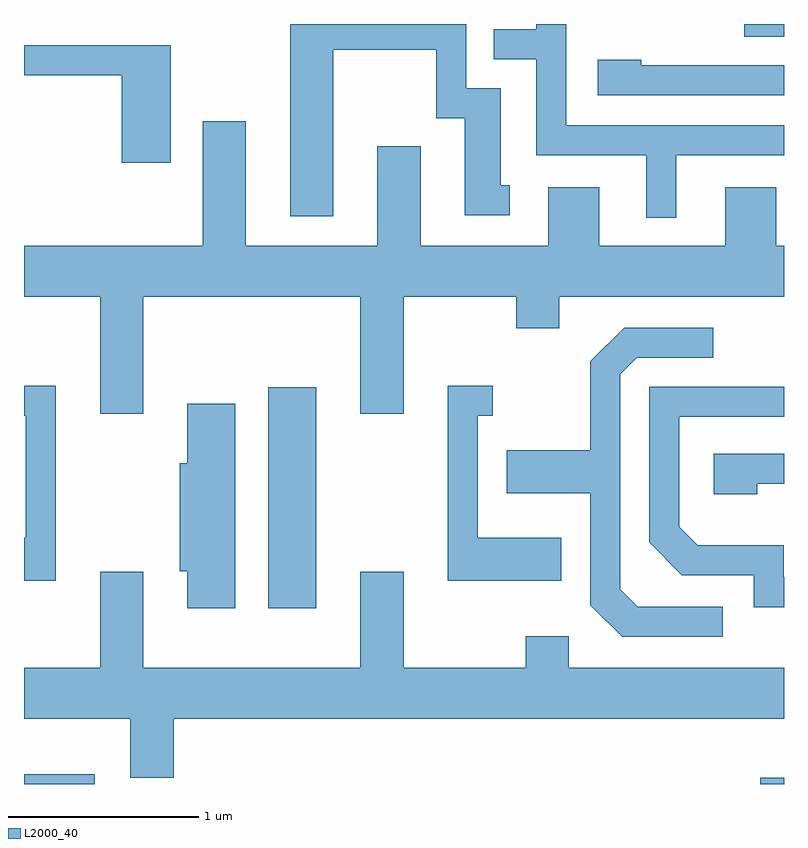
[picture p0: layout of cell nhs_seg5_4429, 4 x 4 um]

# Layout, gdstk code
import gdstk
lib = gdstk.Library(unit=1e-6, precision=1e-09)
def R(c, l, rs):  # rectangles x0, y0, x1, y1
    for r in rs: c.add(gdstk.rectangle(r[:2], r[2:], *l))
def P(c, l, *ps):  # polygons
    for p in ps: c.add(gdstk.Polygon(p, *l))
L2000_40 = (2000, 40)

nhs_seg5_4429 = lib.new_cell('nhs_seg5_4429')
R(nhs_seg5_4429, L2000_40, [(317.611,1392.072,317.984,1392.124), (321.486,1392.072,321.611,1392.104), (318.896,1392.996,319.149,1394.159), (321.403,1396.006,321.611,1396.072)])
P(nhs_seg5_4429, L2000_40, [(321.044,1395.381),(321.611,1395.381),(321.611,1395.539),(320.464,1395.539),(320.464,1396.072),(320.306,1396.072),(320.306,1396.044),(320.083,1396.044),(320.083,1395.886),(320.306,1395.886),(320.306,1395.381),(320.886,1395.381),(320.886,1395.053),(321.044,1395.053)],
  [(319.239,1395.936),(319.781,1395.936),(319.781,1395.576),(319.931,1395.576),(319.931,1395.066),(320.168,1395.066),(320.168,1395.224),(320.119,1395.224),(320.119,1395.734),(319.939,1395.734),(319.939,1396.072),(319.011,1396.072),(319.011,1395.061),(319.239,1395.061)],
  [(318.384,1395.959),(317.611,1395.959),(317.611,1395.801),(318.126,1395.801),(318.126,1395.341),(318.384,1395.341)],
  [(321.611,1395.854),(320.859,1395.854),(320.859,1395.884),(320.631,1395.884),(320.631,1395.696),(321.611,1395.696)],
  [(318.239,1394.636),(319.381,1394.636),(319.381,1394.021),(319.609,1394.021),(319.609,1394.636),(320.201,1394.636),(320.201,1394.471),(320.429,1394.471),(320.429,1394.636),(321.611,1394.636),(321.611,1394.904),(321.569,1394.904),(321.569,1395.214),(321.301,1395.214),(321.301,1394.904),(320.639,1394.904),(320.639,1395.214),(320.371,1395.214),(320.371,1394.904),(319.699,1394.904),(319.699,1395.429),(319.471,1395.429),(319.471,1394.904),(318.779,1394.904),(318.779,1395.559),(318.551,1395.559),(318.551,1394.904),(317.611,1394.904),(317.611,1394.636),(318.011,1394.636),(318.011,1394.021),(318.239,1394.021)],
  [(321.288,1393.004),(320.842,1393.004),(320.749,1393.097),(320.749,1394.229),(320.837,1394.316),(321.238,1394.316),(321.238,1394.474),(320.769,1394.474),(320.591,1394.297),(320.591,1393.829),(320.151,1393.829),(320.151,1393.601),(320.591,1393.601),(320.591,1393.014),(320.759,1392.846),(321.288,1392.846)],
  [(320.439,1393.369),(319.999,1393.369),(319.999,1394.011),(320.078,1394.011),(320.078,1394.169),(319.841,1394.169),(319.841,1393.141),(320.439,1393.141)],
  [(317.779,1394.169),(317.611,1394.169),(317.611,1394.011),(317.621,1394.011),(317.621,1393.369),(317.611,1393.369),(317.611,1393.141),(317.779,1393.141)],
  [(321.611,1393.159),(321.609,1393.159),(321.609,1393.329),(321.157,1393.329),(321.059,1393.427),(321.059,1394.006),(321.611,1394.006),(321.611,1394.164),(320.901,1394.164),(320.901,1393.344),(321.074,1393.171),(321.451,1393.171),(321.451,1393.001),(321.611,1393.001)],
  [(318.724,1394.074),(318.471,1394.074),(318.471,1393.759),(318.431,1393.759),(318.431,1393.191),(318.471,1393.191),(318.471,1392.996),(318.724,1392.996)],
  [(321.469,1393.651),(321.611,1393.651),(321.611,1393.809),(321.241,1393.809),(321.241,1393.596),(321.469,1393.596)],
  [(318.399,1392.416),(321.611,1392.416),(321.611,1392.684),(320.479,1392.684),(320.479,1392.849),(320.251,1392.849),(320.251,1392.684),(319.609,1392.684),(319.609,1393.189),(319.381,1393.189),(319.381,1392.684),(318.239,1392.684),(318.239,1393.189),(318.011,1393.189),(318.011,1392.684),(317.611,1392.684),(317.611,1392.416),(318.171,1392.416),(318.171,1392.106),(318.399,1392.106)])

lib.write_gds('nhs_seg5_4429.gds')
